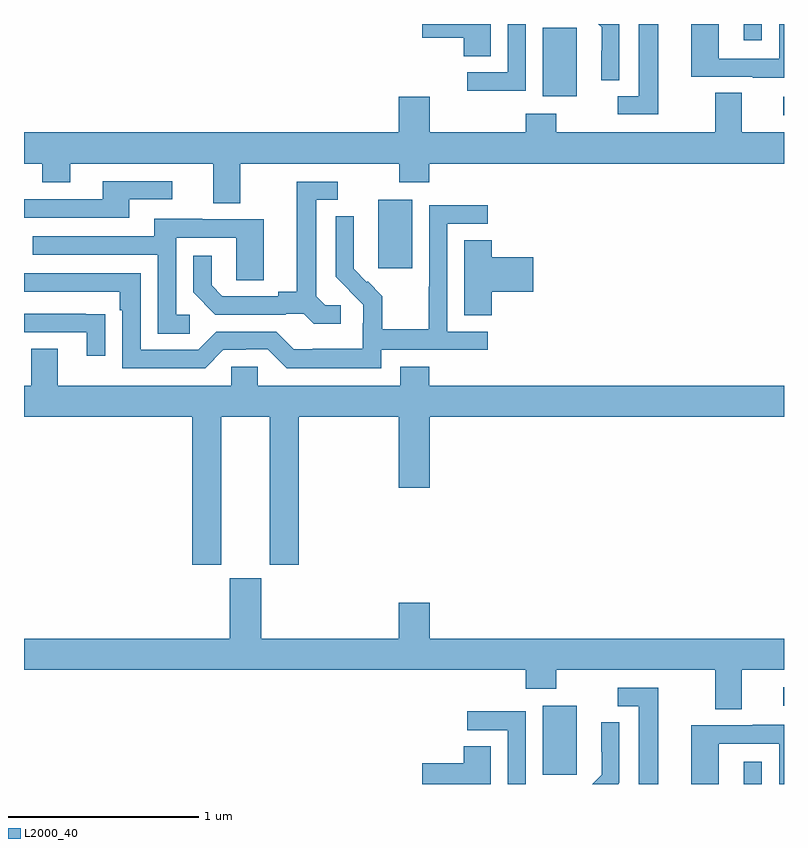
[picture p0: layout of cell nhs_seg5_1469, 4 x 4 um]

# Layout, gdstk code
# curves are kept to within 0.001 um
import gdstk
lib = gdstk.Library(unit=1e-6, precision=1e-09)
def R(c, l, rs):  # rectangles x0, y0, x1, y1
    for r in rs: c.add(gdstk.rectangle(r[:2], r[2:], *l))
def P(c, l, *ps):  # polygons
    for p in ps: c.add(gdstk.Polygon(p, *l))
L2000_40 = (2000, 40)

nhs_seg5_1469 = lib.new_cell('nhs_seg5_1469')
R(nhs_seg5_1469, L2000_40, [(202.787,882.799,202.884,882.916), (201.731,882.849,201.91,883.21), (202.995,883.212,203,883.308), (200.864,885.513,201.043,885.874), (202.995,886.32,203,886.416), (201.731,886.418,201.91,886.779), (202.787,886.713,202.884,886.799)])
P(nhs_seg5_1469, L2000_40, [(203,886.799),(202.974,886.799),(202.974,886.617),(202.656,886.617),(202.656,886.799),(202.511,886.799),(202.511,886.521),(202.835,886.521),(202.835,886.517),(203,886.517)],
  [(202.339,886.799),(202.235,886.799),(202.235,886.419),(202.125,886.419),(202.125,886.323),(202.339,886.323)],
  [(202.134,886.799),(202.022,886.799),(202.04,886.781),(202.04,886.658),(202.038,886.658),(202.038,886.504),(202.134,886.504)],
  [(201.642,886.799),(201.546,886.799),(201.546,886.545),(201.333,886.545),(201.333,886.447),(201.642,886.447)],
  [(201.457,886.799),(201.096,886.799),(201.096,886.726),(201.314,886.726),(201.314,886.63),(201.457,886.63)],
  [(200.137,886.064),(200.974,886.064),(200.974,885.965),(201.134,885.965),(201.134,886.064),(203,886.064),(203,886.228),(202.777,886.228),(202.777,886.436),(202.637,886.436),(202.637,886.228),(201.801,886.228),(201.801,886.327),(201.641,886.327),(201.641,886.228),(201.136,886.228),(201.136,886.417),(200.972,886.417),(200.972,886.228),(199,886.228),(199,886.064),(199.096,886.064),(199.096,885.965),(199.243,885.965),(199.243,886.064),(199.997,886.064),(199.997,885.856),(200.137,885.856)],
  [(199.555,885.876),(199.78,885.876),(199.78,885.972),(199.415,885.972),(199.415,885.876),(199,885.876),(199,885.78),(199.555,885.78)],
  [(200.668,885.318),(200.586,885.318),(200.539,885.365),(200.539,885.873),(200.65,885.873),(200.65,885.969),(200.435,885.969),(200.435,885.389),(200.339,885.389),(200.339,885.366),(200.044,885.366),(199.987,885.423),(199.987,885.58),(199.89,885.58),(199.89,885.386),(200.006,885.27),(200.378,885.27),(200.378,885.273),(200.472,885.273),(200.524,885.221),(200.668,885.221)],
  [(200.88,885.084),(201.442,885.084),(201.442,885.18),(201.228,885.18),(201.228,885.747),(201.442,885.747),(201.442,885.846),(201.132,885.846),(201.132,885.416),(201.13,885.416),(201.13,885.193),(200.885,885.193),(200.885,885.367),(200.808,885.444),(200.805,885.441),(200.735,885.512),(200.736,885.788),(200.64,885.788),(200.64,885.47),(200.786,885.322),(200.786,885.225),(200.784,885.225),(200.784,885.091),(200.521,885.091),(200.521,885.087),(200.421,885.087),(200.328,885.18),(200.013,885.18),(199.917,885.084),(199.614,885.084),(199.614,885.486),(199,885.486),(199,885.39),(199.505,885.39),(199.505,885.293),(199.518,885.293),(199.518,884.988),(199.953,884.988),(200.049,885.084),(200.168,885.084),(200.168,885.087),(200.283,885.087),(200.383,884.987),(200.88,884.987)],
  [(199.873,885.27),(199.8,885.27),(199.8,885.675),(200.118,885.675),(200.118,885.451),(200.263,885.451),(200.263,885.771),(199.939,885.771),(199.939,885.775),(199.685,885.775),(199.685,885.681),(199.045,885.681),(199.045,885.585),(199.704,885.585),(199.704,885.169),(199.873,885.169)],
  [(201.461,885.389),(201.679,885.389),(201.679,885.572),(201.461,885.572),(201.461,885.662),(201.317,885.662),(201.317,885.265),(201.461,885.265)],
  [(199.427,885.272),(199.325,885.272),(199.325,885.273),(199,885.273),(199,885.177),(199.331,885.177),(199.331,885.054),(199.427,885.054)],
  [(200.038,884.732),(200.294,884.732),(200.294,883.953),(200.447,883.953),(200.447,884.732),(200.972,884.732),(200.972,884.358),(201.136,884.358),(201.136,884.732),(203,884.732),(203,884.896),(201.134,884.896),(201.134,884.995),(200.981,884.995),(200.981,884.896),(200.229,884.896),(200.229,884.994),(200.091,884.994),(200.091,884.896),(199.177,884.896),(199.177,885.091),(199.037,885.091),(199.037,884.896),(199,884.896),(199,884.732),(199.886,884.732),(199.886,883.953),(200.038,883.953)],
  [(202.777,883.4),(203,883.4),(203,883.564),(201.136,883.564),(201.136,883.753),(200.972,883.753),(200.972,883.564),(200.248,883.564),(200.248,883.881),(200.084,883.881),(200.084,883.564),(199,883.564),(199,883.4),(201.641,883.4),(201.641,883.301),(201.801,883.301),(201.801,883.4),(202.637,883.4),(202.637,883.192),(202.777,883.192)],
  [(202.339,883.305),(202.125,883.305),(202.125,883.209),(202.235,883.209),(202.235,882.799),(202.339,882.799)],
  [(201.642,883.182),(201.333,883.182),(201.333,883.083),(201.546,883.083),(201.546,882.799),(201.642,882.799)],
  [(202.134,882.806),(202.134,883.124),(202.038,883.124),(202.038,882.97),(202.04,882.97),(202.04,882.848),(201.991,882.799),(202.127,882.799)],
  [(202.656,883.011),(202.974,883.011),(202.974,882.799),(203,882.799),(203,883.111),(202.835,883.111),(202.835,883.107),(202.511,883.107),(202.511,882.799),(202.656,882.799)],
  [(201.457,882.998),(201.314,882.998),(201.314,882.908),(201.096,882.908),(201.096,882.799),(201.457,882.799)])

lib.write_gds('nhs_seg5_1469.gds')
